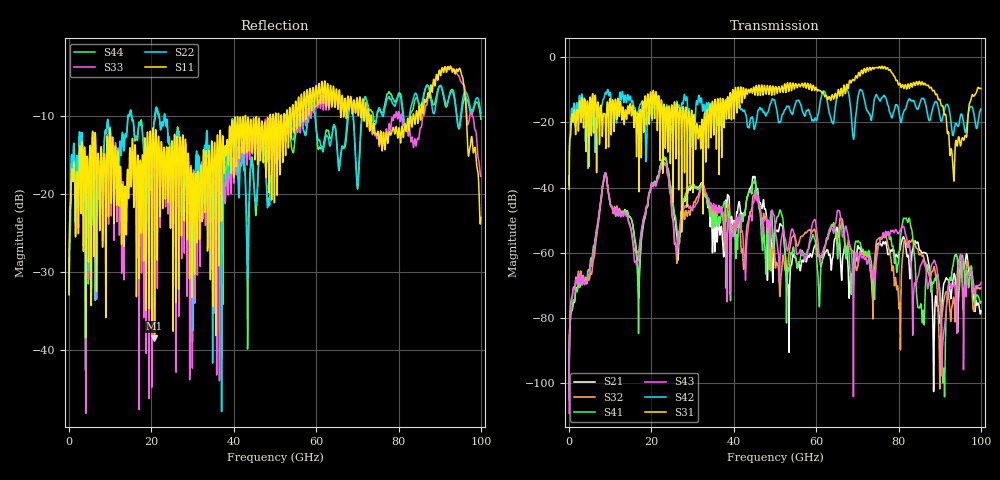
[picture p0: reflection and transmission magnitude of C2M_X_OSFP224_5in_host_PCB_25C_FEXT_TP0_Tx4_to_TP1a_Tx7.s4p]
# GHz S RI R 45
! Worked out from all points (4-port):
!   4000 points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, 25 MHz to 100 GHz, reference 45 ohm
!   strongest paths, dB at 25 MHz, 25.02 GHz, 50.02 GHz, 75.03 GHz, 100 GHz:
!     S31: -40.5, -15.3, -10.0, -3.5, -9.7
!     S42: -39.3, -21.2, -13.8, -12.5, -15.9
!     S43: -109.2, -47.9, -51.5, -58.3, -69.1
!     S41: -102.0, -43.7, -51.7, -58.0, -75.0
!     S32: -98.2, -48.9, -62.5, -55.7, -70.7
!     S21: -105.0, -44.7, -53.9, -57.1, -77.8
!   lowest |S11| = -38.4 dB at 20.75 GHz (marker M1), VSWR 1.02, Z = 45.3 - j1.05 ohm
!   |S11| at or under -10 dB: start of sweep to 42.79 GHz; 42.87 GHz to 48.81 GHz (5.947 GHz wide, 13 % of centre); 73.4 GHz to 82.91 GHz (9.516 GHz wide, 12.2 % of centre)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
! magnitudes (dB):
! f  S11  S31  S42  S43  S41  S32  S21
! 25 MHz  -32.8  -40.5  -39.3  -109.2  -102.0  -98.2  -105.0
! 8.65 GHz  -15.4  -17.3  -11.6  -36.0  -35.9  -36.2  -36.0
! 16.8 GHz  -15.9  -18.2  -16.6  -62.3  -74.7  -60.0  -67.7
! 20.75 GHz  -38.4  -18.2  -14.3  -38.7  -38.3  -38.5  -38.1
! 76.33 GHz  -12.1  -3.6  -11.9  -54.0  -54.1  -54.7  -56.6
! 93.2 GHz  -4.3  -33.4  -24.1  -70.4  -64.1  -74.9  -68.5
! 100 GHz  -23.0  -9.7  -15.9  -69.1  -75.0  -70.7  -77.8
